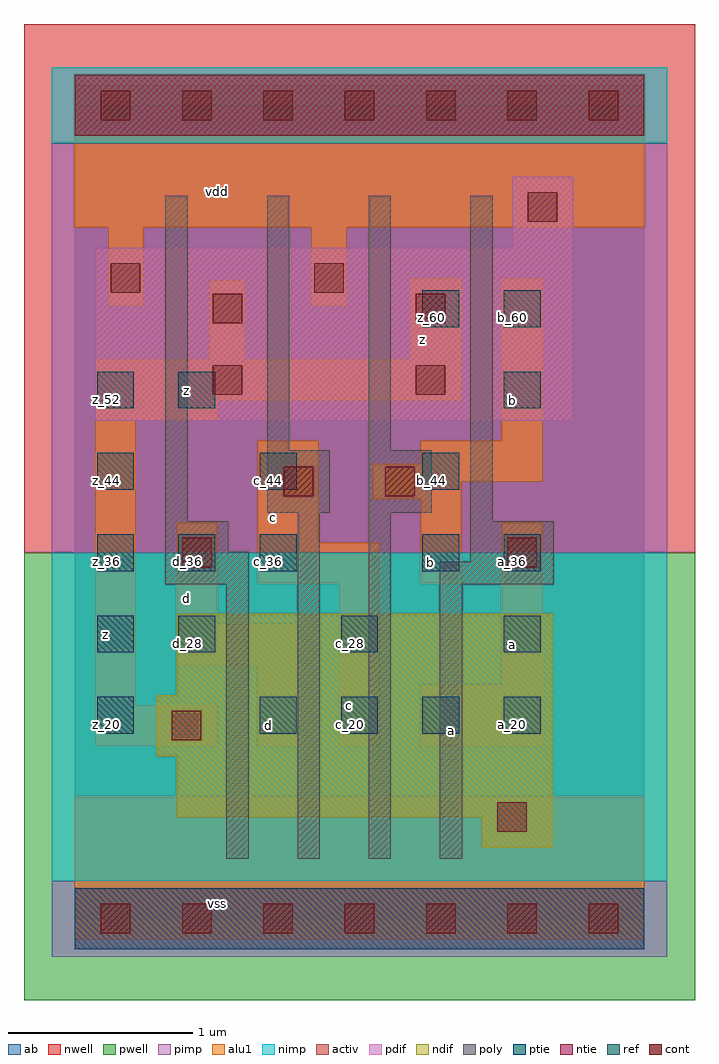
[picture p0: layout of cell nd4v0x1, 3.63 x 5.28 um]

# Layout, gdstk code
import gdstk
lib = gdstk.Library(unit=1e-6, precision=2.5e-09)
def R(c, l, rs):  # rectangles x0, y0, x1, y1
    for r in rs: c.add(gdstk.rectangle(r[:2], r[2:], *l))
def A(c, l, x, y, w, h, nx, ny, dx, dy):  # array of equal rectangles
    R(c, l, [(x+i*dx, y+j*dy, x+i*dx+w, y+j*dy+h) for i in range(nx) for j in range(ny)])
ndif = (3, 0)
pdif = (4, 0)
ntie = (5, 0)
ptie = (6, 0)
ref = (24, 0)
cont = (25, 0)
pwell = (41, 0)
nwell = (42, 0)
activ = (43, 0)
pimp = (44, 0)
nimp = (45, 0)
poly = (46, 0)
alu1 = (49, 0)
ab = (63, 0)

nd4v0x1 = lib.new_cell('nd4v0x1')
R(nd4v0x1, ndif, [(2.2,0.385,2.585,0.55), (0.55,0.55,2.585,0.88), (0.44,0.88,2.585,1.21), (0.55,1.21,2.585,1.65)])
R(nd4v0x1, pdif, [(0.11,2.695,2.695,3.63), (2.365,3.63,2.695,4.015)])
R(nd4v0x1, ntie, [(0,4.235,3.08,4.565)])
R(nd4v0x1, ptie, [(0,-0.165,3.08,0.165)])
A(nd4v0x1, ref, 1, 1, 0.2, 0.2, 4, 1, 0.44, 0)
A(nd4v0x1, ref, 0.56, 1.44, 0.2, 0.2, 3, 1, 0.88, 0)
A(nd4v0x1, ref, 0.12, 1.88, 0.2, 0.2, 3, 1, 0.44, 0)
A(nd4v0x1, ref, 0.12, 2.32, 0.2, 0.2, 3, 1, 0.88, 0)
R(nd4v0x1, ref, [(0.12,1,0.32,1.2), (0.12,1.44,0.32,1.64), (1.88,1.88,2.08,2.08), (2.32,1.88,2.52,2.08), (0.12,2.76,0.32,2.96), (0.56,2.76,0.76,2.96), (2.32,2.76,2.52,2.96), (1.88,3.2,2.08,3.4), (2.32,3.2,2.52,3.4)])
A(nd4v0x1, cont, 0.14, -0.08, 0.16, 0.16, 7, 2, 0.44, 4.4)
R(nd4v0x1, cont, [(2.285,0.47,2.445,0.63), (0.525,0.965,0.685,1.125), (0.58,1.9,0.74,2.06), (2.34,1.9,2.5,2.06), (1.13,2.285,1.29,2.445), (1.68,2.285,1.84,2.445), (0.745,2.835,0.905,2.995), (1.845,2.835,2.005,2.995), (0.745,3.22,0.905,3.38), (1.845,3.22,2.005,3.38), (0.195,3.385,0.355,3.545), (1.295,3.385,1.455,3.545), (2.45,3.77,2.61,3.93)])
R(nd4v0x1, pwell, [(-0.275,-0.44,3.355,1.98)])
R(nd4v0x1, nwell, [(-0.275,1.98,3.355,4.84)])
R(nd4v0x1, activ, [(0,-0.165,3.08,0.165), (2.2,0.385,2.585,0.55), (0.55,0.55,2.585,0.88), (0.44,0.88,2.585,1.21), (0.55,1.21,2.585,1.65), (0.11,2.695,2.695,3.63), (2.365,3.63,2.695,4.015), (0,4.235,3.08,4.565)])
R(nd4v0x1, pimp, [(-0.125,-0.205,3.205,0.205), (-0.125,1.98,3.205,4.195)])
R(nd4v0x1, nimp, [(-0.125,0.205,3.205,1.98), (-0.125,4.195,3.205,4.605)])
R(nd4v0x1, poly, [(0.82,0.325,0.94,1.81), (1.205,0.325,1.325,2.195), (1.59,0.325,1.71,2.195), (1.975,0.325,2.095,1.81), (0.49,1.81,0.94,1.985), (1.975,1.81,2.59,1.93), (2.14,1.93,2.59,2.15), (0.49,1.985,0.83,2.15), (0.49,2.15,0.61,3.91), (2.14,2.15,2.26,3.91), (1.04,2.195,1.38,2.535), (1.59,2.195,1.93,2.535), (1.04,2.535,1.16,3.91), (1.59,2.535,1.71,3.91)])
R(nd4v0x1, alu1, [(0,-0.11,3.08,0.66), (0.11,0.935,0.77,1.155), (0.99,0.935,1.21,1.375), (1.43,0.935,1.65,1.815), (1.87,0.935,2.53,1.265), (0.11,1.155,0.33,2.695), (2.31,1.265,2.53,2.145), (0.55,1.375,1.21,1.595), (0.55,1.595,0.77,2.145), (0.99,1.815,1.65,2.035), (1.87,1.815,2.09,2.27), (0.99,2.035,1.32,2.585), (1.61,2.27,2.09,2.365), (1.61,2.365,2.53,2.46), (1.87,2.46,2.53,2.585), (2.31,2.585,2.53,3.465), (0.11,2.695,0.77,2.805), (0.11,2.805,2.09,3.025), (0.73,3.025,0.92,3.45), (1.815,3.025,2.09,3.465), (0.18,3.315,0.37,3.74), (1.28,3.315,1.47,3.74), (0,3.74,3.08,4.51)])
R(nd4v0x1, ab, [(0,0,3.08,4.4)])
nd4v0x1.add(gdstk.Label('vss', (0.77,0.0825), layer=49, texttype=0))
nd4v0x1.add(gdstk.Label('a', (2.035,1.0175), layer=49, texttype=0))
nd4v0x1.add(gdstk.Label('a', (2.365,1.485), layer=49, texttype=0))
nd4v0x1.add(gdstk.Label('c', (1.485,1.155), layer=49, texttype=0))
nd4v0x1.add(gdstk.Label('d', (1.045,1.045), layer=49, texttype=0))
nd4v0x1.add(gdstk.Label('b', (1.925,1.9275), layer=49, texttype=0))
nd4v0x1.add(gdstk.Label('c', (1.0725,2.1725), layer=49, texttype=0))
nd4v0x1.add(gdstk.Label('d', (0.605,1.7325), layer=49, texttype=0))
nd4v0x1.add(gdstk.Label('b', (2.365,2.805), layer=49, texttype=0))
nd4v0x1.add(gdstk.Label('z', (0.165,1.54), layer=49, texttype=0))
nd4v0x1.add(gdstk.Label('z', (0.605,2.86), layer=49, texttype=0))
nd4v0x1.add(gdstk.Label('z', (1.8825,3.135), layer=49, texttype=0))
nd4v0x1.add(gdstk.Label('vdd', (0.77,3.9325), layer=49, texttype=0))
nd4v0x1.add(gdstk.Label('d_28', (0.61,1.49), layer=24, texttype=0))
nd4v0x1.add(gdstk.Label('d_36', (0.61,1.93), layer=24, texttype=0))
nd4v0x1.add(gdstk.Label('z_52', (0.61,2.81), layer=24, texttype=0))
nd4v0x1.add(gdstk.Label('d_20', (1.05,1.05), layer=24, texttype=0))
nd4v0x1.add(gdstk.Label('c_36', (1.05,1.93), layer=24, texttype=0))
nd4v0x1.add(gdstk.Label('c_44', (1.05,2.37), layer=24, texttype=0))
nd4v0x1.add(gdstk.Label('c_20', (1.49,1.05), layer=24, texttype=0))
nd4v0x1.add(gdstk.Label('c_28', (1.49,1.49), layer=24, texttype=0))
nd4v0x1.add(gdstk.Label('a_20', (1.93,1.05), layer=24, texttype=0))
nd4v0x1.add(gdstk.Label('b_36', (1.93,1.93), layer=24, texttype=0))
nd4v0x1.add(gdstk.Label('b_44', (1.93,2.37), layer=24, texttype=0))
nd4v0x1.add(gdstk.Label('z_60', (1.93,3.25), layer=24, texttype=0))
nd4v0x1.add(gdstk.Label('z_20', (0.17,1.05), layer=24, texttype=0))
nd4v0x1.add(gdstk.Label('z_28', (0.17,1.49), layer=24, texttype=0))
nd4v0x1.add(gdstk.Label('z_36', (0.17,1.93), layer=24, texttype=0))
nd4v0x1.add(gdstk.Label('z_44', (0.17,2.37), layer=24, texttype=0))
nd4v0x1.add(gdstk.Label('z_52', (0.17,2.81), layer=24, texttype=0))
nd4v0x1.add(gdstk.Label('a_20', (2.37,1.05), layer=24, texttype=0))
nd4v0x1.add(gdstk.Label('a_28', (2.37,1.49), layer=24, texttype=0))
nd4v0x1.add(gdstk.Label('a_36', (2.37,1.93), layer=24, texttype=0))
nd4v0x1.add(gdstk.Label('b_52', (2.37,2.81), layer=24, texttype=0))
nd4v0x1.add(gdstk.Label('b_60', (2.37,3.25), layer=24, texttype=0))

lib.write_gds('nd4v0x1.gds')
